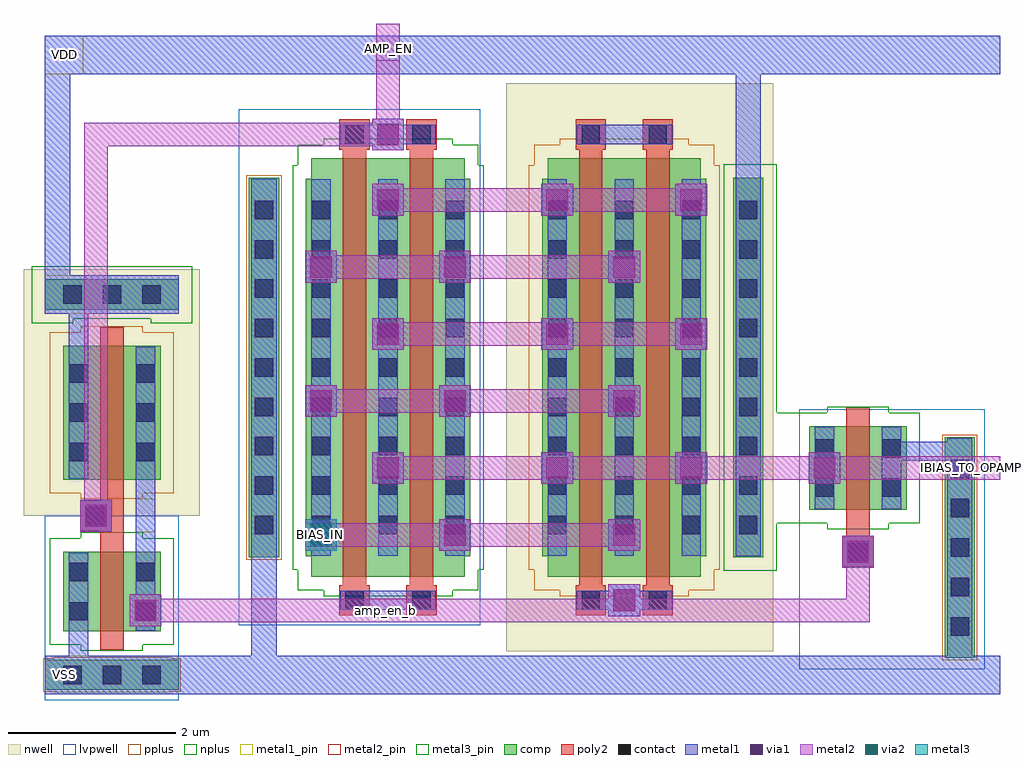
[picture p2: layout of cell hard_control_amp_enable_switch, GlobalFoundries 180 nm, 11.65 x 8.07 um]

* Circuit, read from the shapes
.subckt hard_control_amp_enable_switch AMP_EN BIAS_IN IBIAS_TO_OPAMP VDD VSS amp_en_b
XM1 amp_en_b AMP_EN VSS VSS nfet_03v3 w=0.95u l=0.28u
XM2 IBIAS_TO_OPAMP AMP_EN BIAS_IN VSS nfet_03v3 w=5u l=0.28u m=2
XM3 VSS amp_en_b IBIAS_TO_OPAMP VSS nfet_03v3 w=1u l=0.28u
XM4 amp_en_b AMP_EN VDD VDD pfet_03v3 w=1.6u l=0.28u
XM5 BIAS_IN amp_en_b IBIAS_TO_OPAMP VDD pfet_03v3 w=5u l=0.28u m=2
.ends

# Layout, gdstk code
import gdstk
lib = gdstk.Library(unit=1e-6, precision=1e-09)
def R(c, l, rs):  # rectangles x0, y0, x1, y1
    for r in rs: c.add(gdstk.rectangle(r[:2], r[2:], *l))
def A(c, l, x, y, w, h, nx, ny, dx, dy):  # array of equal rectangles
    R(c, l, [(x+i*dx, y+j*dy, x+i*dx+w, y+j*dy+h) for i in range(nx) for j in range(ny)])
nwell = (21, 0)
comp = (22, 0)
poly2 = (30, 0)
pplus = (31, 0)
nplus = (32, 0)
contact = (33, 0)
metal1 = (34, 0)
metal1_pin = (34, 10)
via1 = (35, 0)
metal2 = (36, 0)
metal2_pin = (36, 10)
via2 = (38, 0)
metal3 = (42, 0)
metal3_pin = (42, 10)
lvpwell = (204, 0)

pfet_03v3_gnewmp = lib.new_cell('pfet_03v3_GNEWMP')
R(pfet_03v3_gnewmp, nwell, [(-1.41,-3.39,1.41,3.39)])
R(pfet_03v3_gnewmp, comp, [(-0.915,-2.5,0.915,-2.255), (-0.98,-2.255,0.98,2.255), (-0.915,2.255,0.915,2.5)])
R(pfet_03v3_gnewmp, poly2, [(-0.58,-2.96,-0.22,-2.6), (0.22,-2.96,0.58,-2.6), (-0.54,-2.6,-0.26,2.6), (0.26,-2.6,0.54,2.6), (-0.58,2.6,-0.22,2.96), (0.22,2.6,0.58,2.96)])
R(pfet_03v3_gnewmp, pplus, [(-0.77,-2.73,0.77,-2.66), (-1.075,-2.66,1.075,-2.415), (-1.14,-2.415,1.14,2.415), (-1.075,2.415,1.075,2.66), (-0.77,2.66,0.77,2.73)])
A(pfet_03v3_gnewmp, contact, -0.91, -1.99, 0.22, 0.22, 3, 9, 0.8, 0.47)
R(pfet_03v3_gnewmp, contact, [(-0.51,-2.89,-0.29,-2.67), (0.29,-2.89,0.51,-2.67), (-0.51,2.67,-0.29,2.89), (0.29,2.67,0.51,2.89)])
A(pfet_03v3_gnewmp, metal1, -0.915, -2.245, 0.23, 4.49, 3, 1, 0.8, 0)
R(pfet_03v3_gnewmp, metal1, [(-0.57,-2.895,-0.23,-2.665), (0.23,-2.895,0.57,-2.665), (-0.57,2.665,-0.23,2.895), (0.23,2.665,0.57,2.895)])

nfet_03v3_5kectr = lib.new_cell('nfet_03v3_5KECTR')
R(nfet_03v3_5kectr, comp, [(-0.915,-2.5,0.915,-2.255), (-0.98,-2.255,0.98,2.255), (-0.915,2.255,0.915,2.5)])
R(nfet_03v3_5kectr, poly2, [(-0.58,-2.96,-0.22,-2.6), (0.22,-2.96,0.58,-2.6), (-0.54,-2.6,-0.26,2.6), (0.26,-2.6,0.54,2.6), (-0.58,2.6,-0.22,2.96), (0.22,2.6,0.58,2.96)])
R(nfet_03v3_5kectr, nplus, [(-0.77,-2.73,0.77,-2.66), (-1.075,-2.66,1.075,-2.415), (-1.14,-2.415,1.14,2.415), (-1.075,2.415,1.075,2.66), (-0.77,2.66,0.77,2.73)])
A(nfet_03v3_5kectr, contact, -0.91, -1.99, 0.22, 0.22, 3, 9, 0.8, 0.47)
R(nfet_03v3_5kectr, contact, [(-0.51,-2.89,-0.29,-2.67), (0.29,-2.89,0.51,-2.67), (-0.51,2.67,-0.29,2.89), (0.29,2.67,0.51,2.89)])
A(nfet_03v3_5kectr, metal1, -0.915, -2.245, 0.23, 4.49, 3, 1, 0.8, 0)
R(nfet_03v3_5kectr, metal1, [(-0.57,-2.895,-0.23,-2.665), (0.23,-2.895,0.57,-2.665), (-0.57,2.665,-0.23,2.895), (0.23,2.665,0.57,2.895)])
R(nfet_03v3_5kectr, lvpwell, [(-1.1,-3.08,1.1,3.08)])

switch_tg_analog_nf02 = lib.new_cell('switch_tg_analog_nf02')
R(switch_tg_analog_nf02, nwell, [(3.305,-3.39,6.495,3.39)])
R(switch_tg_analog_nf02, comp, [(0.235,-2.265,0.595,2.265), (6.015,-2.265,6.375,2.265)])
R(switch_tg_analog_nf02, pplus, [(0.205,-2.295,0.625,2.295)])
R(switch_tg_analog_nf02, nplus, [(5.905,-2.425,6.535,2.425)])
A(switch_tg_analog_nf02, contact, 0.305, -1.99, 0.22, 0.22, 1, 9, 0, 0.47)
A(switch_tg_analog_nf02, contact, 6.085, -1.99, 0.22, 0.22, 1, 9, 0, 0.47)
A(switch_tg_analog_nf02, metal1, 0.905, -2.19, 0.38, 0.38, 1, 3, 0, 1.6)
A(switch_tg_analog_nf02, metal1, 2.505, -2.19, 0.38, 0.38, 1, 3, 0, 1.6)
A(switch_tg_analog_nf02, metal1, 4.525, -2.19, 0.38, 0.38, 1, 3, 0, 1.6)
A(switch_tg_analog_nf02, metal1, 1.705, -1.39, 0.38, 0.38, 1, 3, 0, 1.6)
A(switch_tg_analog_nf02, metal1, 3.725, -1.39, 0.38, 0.38, 1, 3, 0, 1.6)
A(switch_tg_analog_nf02, metal1, 5.325, -1.39, 0.38, 0.38, 1, 3, 0, 1.6)
R(switch_tg_analog_nf02, metal1, [(1.325,-2.895,2.465,-2.665), (4.145,-2.895,5.285,-2.665), (0.265,-2.255,0.565,2.255), (6.045,-2.255,6.345,2.255), (1.325,2.665,2.465,2.895), (4.145,2.665,5.285,2.895)])
R(switch_tg_analog_nf02, metal1_pin, [(0.265,-0.5,0.565,0.5), (6.045,-0.5,6.345,0.5), (1.325,2.665,2.465,2.895), (4.145,2.665,5.285,2.895)])
A(switch_tg_analog_nf02, via1, 0.965, -2.13, 0.26, 0.26, 1, 3, 0, 1.6)
A(switch_tg_analog_nf02, via1, 2.565, -2.13, 0.26, 0.26, 1, 3, 0, 1.6)
A(switch_tg_analog_nf02, via1, 4.585, -2.13, 0.26, 0.26, 1, 3, 0, 1.6)
A(switch_tg_analog_nf02, via1, 1.765, -1.33, 0.26, 0.26, 1, 3, 0, 1.6)
A(switch_tg_analog_nf02, via1, 3.785, -1.33, 0.26, 0.26, 1, 3, 0, 1.6)
A(switch_tg_analog_nf02, via1, 5.385, -1.33, 0.26, 0.26, 1, 3, 0, 1.6)
A(switch_tg_analog_nf02, metal2, 0.905, -2.14, 4, 0.28, 1, 3, 0, 1.6)
A(switch_tg_analog_nf02, metal2, 1.705, -1.34, 4, 0.28, 1, 3, 0, 1.6)
R(switch_tg_analog_nf02, metal2, [(0.905,-2.19,1.285,-2.14), (2.505,-2.19,2.885,-2.14), (4.525,-2.19,4.905,-2.14), (0.905,-1.86,1.285,-1.81), (2.505,-1.86,2.885,-1.81), (4.525,-1.86,4.905,-1.81), (1.705,-1.39,2.085,-1.34), (3.725,-1.39,4.105,-1.34), (5.325,-1.39,5.705,-1.34), (1.705,-1.06,2.085,-1.01), (3.725,-1.06,4.105,-1.01), (5.325,-1.06,5.705,-1.01), (0.905,-0.59,1.285,-0.54), (2.505,-0.59,2.885,-0.54), (4.525,-0.59,4.905,-0.54), (0.905,-0.26,1.285,-0.21), (2.505,-0.26,2.885,-0.21), (4.525,-0.26,4.905,-0.21), (1.705,0.21,2.085,0.26), (3.725,0.21,4.105,0.26), (5.325,0.21,5.705,0.26), (1.705,0.54,2.085,0.59), (3.725,0.54,4.105,0.59), (5.325,0.54,5.705,0.59), (0.905,1.01,1.285,1.06), (2.505,1.01,2.885,1.06), (4.525,1.01,4.905,1.06), (0.905,1.34,1.285,1.39), (2.505,1.34,2.885,1.39), (4.525,1.34,4.905,1.39), (1.705,1.81,2.085,1.86), (3.725,1.81,4.105,1.86), (5.325,1.81,5.705,1.86), (1.705,2.14,2.085,2.19), (3.725,2.14,4.105,2.19), (5.325,2.14,5.705,2.19)])
R(switch_tg_analog_nf02, metal2_pin, [(0.905,-2.14,1.285,-1.86), (5.325,-1.34,5.705,-1.06)])
R(switch_tg_analog_nf02, lvpwell, [(0.115,-3.08,2.995,3.08)])
switch_tg_analog_nf02.add(gdstk.Reference(pfet_03v3_gnewmp, (4.715,0)))
switch_tg_analog_nf02.add(gdstk.Reference(nfet_03v3_5kectr, (1.895,0)))
switch_tg_analog_nf02.add(gdstk.Label('G', (1.895,2.78), layer=34, texttype=10))
switch_tg_analog_nf02.add(gdstk.Label('GB', (4.715,2.78), layer=34, texttype=10))
switch_tg_analog_nf02.add(gdstk.Label('VSS', (0.415,0), layer=34, texttype=10))
switch_tg_analog_nf02.add(gdstk.Label('VDD', (6.195,0), layer=34, texttype=10))
switch_tg_analog_nf02.add(gdstk.Label('A', (1.095,-2), layer=36, texttype=10))
switch_tg_analog_nf02.add(gdstk.Label('B', (5.515,-1.2), layer=36, texttype=10))

logic_inverter_1x = lib.new_cell('logic_inverter_1x')
R(logic_inverter_1x, nwell, [(-0.25,2.13,1.85,5.07)])
R(logic_inverter_1x, comp, [(0,0.05,1.6,0.41), (0.22,0.75,1.38,1.7), (0.22,2.56,1.38,4.16), (0,4.59,1.6,4.95)])
R(logic_inverter_1x, poly2, [(0.66,0.53,0.94,1.95), (0.42,1.95,0.94,2.31), (0.66,2.31,0.94,4.38)])
R(logic_inverter_1x, pplus, [(0.105,0.02,1.495,0.03), (-0.02,0.03,1.62,0.43), (0.105,0.43,1.495,0.44), (0.43,2.33,1.17,2.4), (0.06,2.4,1.54,4.32), (0.43,4.32,1.17,4.39)])
R(logic_inverter_1x, nplus, [(0.43,0.52,1.17,0.59), (0.06,0.59,1.54,1.86), (0.43,1.86,1.17,1.93), (-0.16,4.43,0.34,4.48), (1.26,4.43,1.76,4.48), (-0.16,4.48,1.76,5.11)])
A(logic_inverter_1x, contact, 0.22, 0.12, 0.22, 0.22, 3, 2, 0.47, 4.54)
A(logic_inverter_1x, contact, 0.29, 2.78, 0.22, 0.22, 1, 3, 0, 0.47)
A(logic_inverter_1x, contact, 1.09, 2.78, 0.22, 0.22, 1, 3, 0, 0.47)
R(logic_inverter_1x, contact, [(0.29,0.88,0.51,1.1), (1.09,0.88,1.31,1.1), (0.29,1.35,0.51,1.57), (1.09,1.35,1.31,1.57), (0.49,2.02,0.71,2.24)])
R(logic_inverter_1x, metal1, [(0,0,1.6,0.46), (0.285,0.46,0.515,1.69), (1.085,0.76,1.315,4.15), (0.42,1.94,0.8,2.32), (0.285,2.57,0.515,4.54), (0,4.54,1.6,5)])
R(logic_inverter_1x, metal1_pin, [(0,0,1.6,0.46), (1.085,1.93,1.315,2.33), (0.42,1.94,0.8,2.32), (0,4.54,1.6,5)])
R(logic_inverter_1x, lvpwell, [(0,-0.07,1.6,2.13)])
logic_inverter_1x.add(gdstk.Label('IN', (0.61,2.13), layer=34, texttype=10))
logic_inverter_1x.add(gdstk.Label('OUT', (1.2,2.13), layer=34, texttype=10))
logic_inverter_1x.add(gdstk.Label('VDD', (0.8,4.77), layer=34, texttype=10))
logic_inverter_1x.add(gdstk.Label('VSS', (0.8,0.23), layer=34, texttype=10))

hard_control_amp_enable_ = lib.new_cell('hard_control_amp_enable_switch')
R(hard_control_amp_enable_, comp, [(10.74,0.435,11.1,3.065), (9.125,2.2,10.285,3.2)])
R(hard_control_amp_enable_, poly2, [(9.525,1.52,9.885,1.88), (9.565,1.88,9.845,3.42)])
R(hard_control_amp_enable_, pplus, [(10.71,0.405,11.13,3.095)])
R(hard_control_amp_enable_, nplus, [(9.335,1.97,10.075,2.04), (8.735,2.04,10.445,3.36), (9.335,3.36,10.075,3.43)])
A(hard_control_amp_enable_, contact, 10.81, 0.7, 0.22, 0.22, 1, 5, 0, 0.47)
R(hard_control_amp_enable_, contact, [(9.595,1.59,9.815,1.81), (9.195,2.355,9.415,2.575), (9.995,2.355,10.215,2.575), (9.195,2.825,9.415,3.045), (9.995,2.825,10.215,3.045)])
R(hard_control_amp_enable_, metal1, [(0,0,11.4,0.46), (2.465,0.46,2.765,1.9), (10.77,0.46,11.07,2.785), (1.01,0.81,1.39,1.19), (6.725,0.93,7.105,1.31), (9.515,1.51,9.895,1.89), (0.42,1.94,0.8,2.32), (9.19,2.21,9.42,2.51), (9.99,2.21,10.22,2.785), (9.115,2.51,9.495,2.89), (9.99,2.785,11.07,3.015), (9.19,2.89,9.42,3.19), (9.99,3.015,10.22,3.19), (10.77,3.015,11.07,3.055), (0,4.54,0.3,7.4), (8.245,5.9,8.545,7.4), (3.905,6.49,4.285,6.87), (0,7.4,11.4,7.86)])
R(hard_control_amp_enable_, metal1_pin, [(0,0,0.46,0.46), (0,7.4,0.46,7.86)])
R(hard_control_amp_enable_, via1, [(1.07,0.87,1.33,1.13), (6.785,0.99,7.045,1.25), (9.575,1.57,9.835,1.83), (0.48,2,0.74,2.26), (9.175,2.57,9.435,2.83), (3.965,6.55,4.225,6.81)])
R(hard_control_amp_enable_, metal2, [(1.01,0.81,1.39,0.86), (1.01,0.86,9.845,1.14), (1.01,1.14,1.39,1.19), (6.725,1.14,7.105,1.31), (9.565,1.14,9.845,1.51), (9.515,1.51,9.895,1.89), (3.105,1.71,3.485,2.09), (0.42,1.94,0.8,2.32), (0.47,2.32,0.75,6.54), (9.115,2.51,9.495,2.56), (7.525,2.56,11.4,2.84), (9.115,2.84,9.495,2.89), (3.905,6.49,4.285,6.54), (0.47,6.54,4.285,6.82), (3.905,6.82,4.285,6.87), (3.955,6.87,4.235,8)])
R(hard_control_amp_enable_, metal2_pin, [(11.02,2.56,11.4,2.84), (3.955,7.56,4.235,7.86)])
R(hard_control_amp_enable_, via2, [(3.165,1.77,3.425,2.03)])
R(hard_control_amp_enable_, metal3, [(3.105,1.71,3.485,2.09)])
R(hard_control_amp_enable_, metal3_pin, [(3.105,1.71,3.485,2.09)])
R(hard_control_amp_enable_, lvpwell, [(9.005,0.3,11.22,3.4)])
hard_control_amp_enable_.add(gdstk.Reference(switch_tg_analog_nf02, (2.2,3.9)))
hard_control_amp_enable_.add(gdstk.Reference(logic_inverter_1x, (0,0)))
hard_control_amp_enable_.add(gdstk.Label('VSS', (0.23,0.23), layer=34, texttype=10))
hard_control_amp_enable_.add(gdstk.Label('VDD', (0.23,7.63), layer=34, texttype=10))
hard_control_amp_enable_.add(gdstk.Label('amp_en_b', (4.06,1), layer=36, texttype=0))
hard_control_amp_enable_.add(gdstk.Label('AMP_EN', (4.095,7.71), layer=36, texttype=10))
hard_control_amp_enable_.add(gdstk.Label('IBIAS_TO_OPAMP', (11.21,2.7), layer=36, texttype=10))
hard_control_amp_enable_.add(gdstk.Label('BIAS_IN', (3.295,1.9), layer=42, texttype=10))

lib.write_gds('hard_control_amp_enable_switch.gds')
